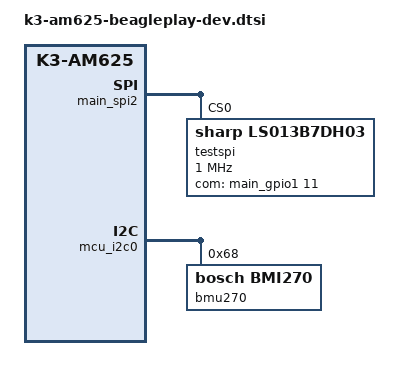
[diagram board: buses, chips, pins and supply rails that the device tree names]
&main_spi2 {
    testspi@0 {
        compatible = "sharp,ls013b7dh03";
        status = "okay";
        spi-cs-high = <1>;
        spi-max-frequency = <1000000>;
        reg = <0>;
        com-gpios = <&main_gpio1 11 GPIO_ACTIVE_HIGH>;
    };
};   

&mcu_i2c0 {
    bmu270@68 {
        compatible = "bosch,bmi270";        
        reg = <0x68>;
    };
};
